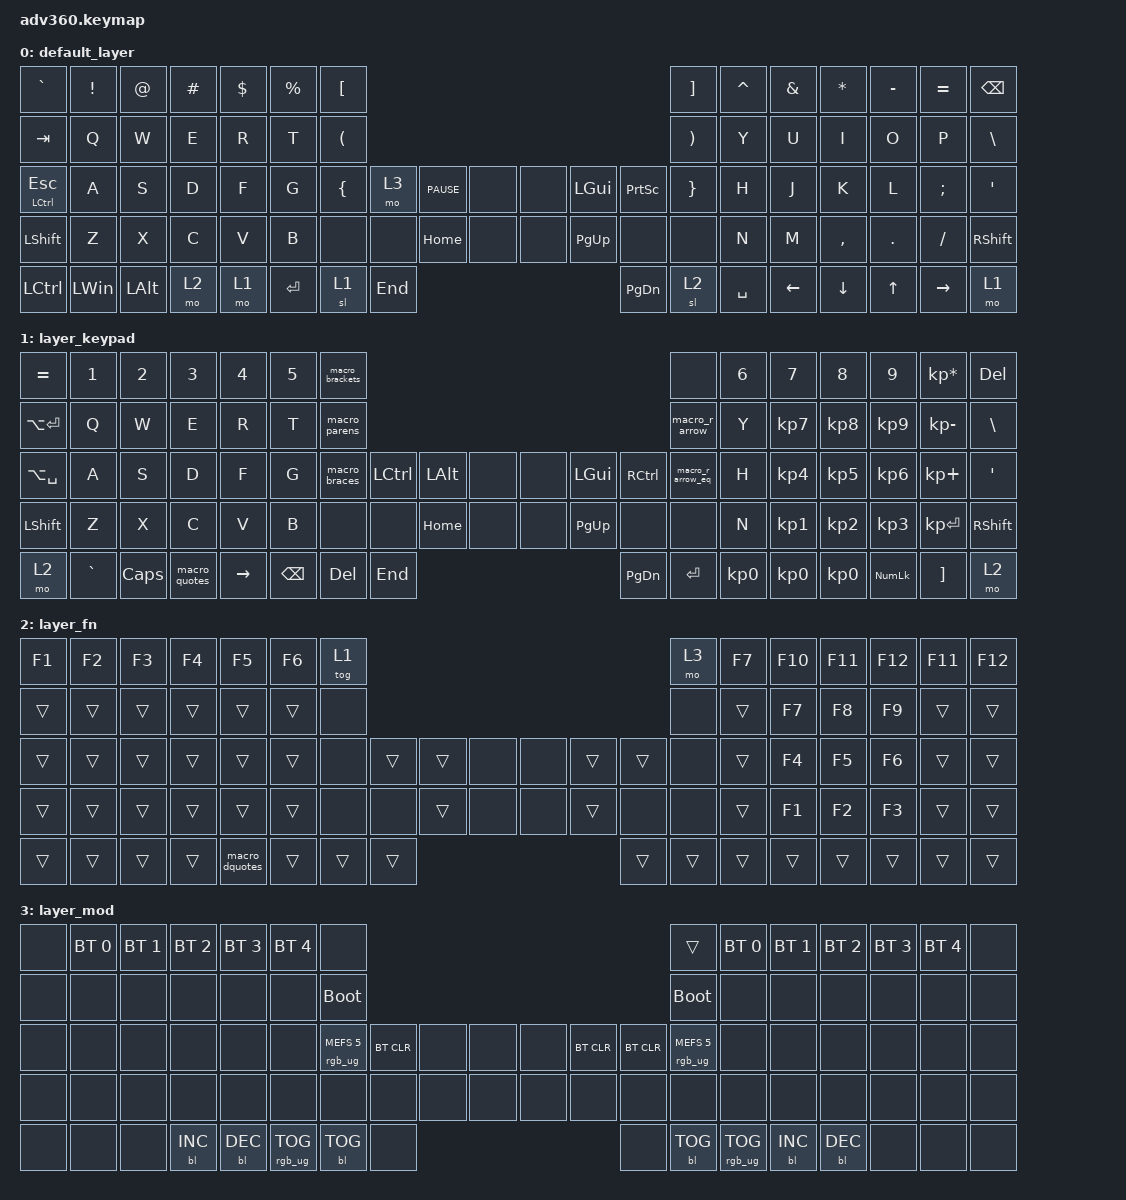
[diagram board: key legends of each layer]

/*
 * Copyright (c) 2020 The ZMK Contributors
 *
 * SPDX-License-Identifier: MIT
 */


/* THIS FILE WAS GENERATED!
 *
 * This file was generated automatically. You may or may not want to
 * edit it directly.
 */

#include <behaviors.dtsi>
#include <dt-bindings/zmk/keys.h>
#include <dt-bindings/zmk/bt.h>
#include <dt-bindings/zmk/rgb.h>
#include <dt-bindings/zmk/backlight.h>

/ {
  behaviors {
    #include "macros.dtsi"

    hm: homerow_mods {
        compatible = "zmk,behavior-hold-tap";
        label = "HOMEROW_MODS";
        #binding-cells = <2>;
        tapping-term-ms = <200>;
        quick_tap_ms = <175>;
        flavor = "tap-preferred";
        bindings = <&kp>, <&kp>;
    };
  };

    keymap {
        compatible = "zmk,keymap";


        default_layer {
            bindings = <
               &kp GRAVE  &kp EXCLAMATION   &kp AT_SIGN  &kp POUND  &kp DOLLAR  &kp PERCENT                &kp LEFT_BRACKET                                                                       &kp RIGHT_BRACKET  &kp CARET  &kp AMPERSAND  &kp ASTERISK  &kp MINUS  &kp EQUAL  &kp BACKSPACE
                 &kp TAB            &kp Q         &kp W      &kp E       &kp R        &kp T            &kp LEFT_PARENTHESIS                                                                   &kp RIGHT_PARENTHESIS      &kp Y          &kp U         &kp I      &kp O      &kp P       &kp BSLH
 &mt LEFT_CONTROL ESCAPE            &kp A         &kp S      &kp D       &kp F        &kp G                  &kp LEFT_BRACE   &mo 3  &kp C_PAUSE   &none   &none   &kp LGUI  &kp PRINTSCREEN        &kp RIGHT_BRACE      &kp H          &kp J         &kp K      &kp L   &kp SEMI        &kp SQT
               &kp LSHFT            &kp Z         &kp X      &kp C       &kp V        &kp B                           &none   &none     &kp HOME   &none   &none  &kp PG_UP            &none                  &none      &kp N          &kp M     &kp COMMA    &kp DOT   &kp FSLH      &kp RSHFT
               &kp LCTRL     &kp LEFT_WIN  &kp LEFT_ALT      &mo 2       &mo 1                                    &kp ENTER   &sl 1      &kp END                  &kp PG_DN            &sl 2              &kp SPACE                  &kp LEFT      &kp DOWN     &kp UP  &kp RIGHT          &mo 1
            >;
        };

        layer_keypad {
            bindings = <
     &kp EQUAL  &kp NUMBER_1    &kp N2         &kp N3     &kp N4  &kp N5            &macro_brackets                                                                         &none  &kp N6     &kp N7     &kp N8          &kp N9  &kp KP_MULTIPLY  &kp DELETE
 &kp LA(ENTER)         &kp Q     &kp W          &kp E      &kp R   &kp T              &macro_parens                                                                &macro_r_arrow   &kp Y  &kp KP_N7  &kp KP_N8       &kp KP_N9     &kp KP_MINUS    &kp BSLH
 &kp LA(SPACE)         &kp A     &kp S          &kp D      &kp F   &kp G              &macro_braces  &kp LCTRL  &kp LALT   &none   &none   &kp LGUI  &kp RCTRL  &macro_r_arrow_eq   &kp H  &kp KP_N4  &kp KP_N5       &kp KP_N6      &kp KP_PLUS     &kp SQT
     &kp LSHFT         &kp Z     &kp X          &kp C      &kp V   &kp B                      &none      &none  &kp HOME   &none   &none  &kp PG_UP      &none              &none   &kp N  &kp KP_N1  &kp KP_N2       &kp KP_N3     &kp KP_ENTER   &kp RSHFT
         &mo 2     &kp GRAVE  &kp CAPS  &macro_quotes  &kp RIGHT                           &kp BSPC    &kp DEL   &kp END                  &kp PG_DN  &kp ENTER          &kp KP_N0          &kp KP_N0  &kp KP_N0  &kp KP_NUMLOCK         &kp RBKT       &mo 2
            >;
        };

        layer_fn {
            bindings = <
 &kp F1  &kp F2  &kp F3  &kp F4          &kp F5  &kp F6            &tog 1                                                   &mo 3  &kp F7  &kp F10  &kp F11  &kp F12  &kp F11  &kp F12
 &trans  &trans  &trans  &trans          &trans  &trans             &none                                                   &none  &trans   &kp F7   &kp F8   &kp F9   &trans   &trans
 &trans  &trans  &trans  &trans          &trans  &trans             &none  &trans  &trans   &none   &none  &trans  &trans   &none  &trans   &kp F4   &kp F5   &kp F6   &trans   &trans
 &trans  &trans  &trans  &trans          &trans  &trans             &none   &none  &trans   &none   &none  &trans   &none   &none  &trans   &kp F1   &kp F2   &kp F3   &trans   &trans
 &trans  &trans  &trans  &trans  &macro_dquotes                    &trans  &trans  &trans                  &trans  &trans  &trans           &trans   &trans   &trans   &trans   &trans
            >;
        };

        layer_mod {
            bindings = <
  &none  &bt BT_SEL 0  &bt BT_SEL 1  &bt BT_SEL 2  &bt BT_SEL 3  &bt BT_SEL 4                             &none                                                                              &trans  &bt BT_SEL 0  &bt BT_SEL 1  &bt BT_SEL 2  &bt BT_SEL 3  &bt BT_SEL 4   &none
  &none         &none         &none         &none         &none         &none                       &bootloader                                                                         &bootloader         &none         &none         &none         &none         &none   &none
  &none         &none         &none         &none         &none         &none            &rgb_ug RGB_MEFS_CMD 5  &bt BT_CLR   &none   &none   &none  &bt BT_CLR  &bt BT_CLR  &rgb_ug RGB_MEFS_CMD 5         &none         &none         &none         &none         &none   &none
  &none         &none         &none         &none         &none         &none                             &none       &none   &none   &none   &none       &none       &none                   &none         &none         &none         &none         &none         &none   &none
  &none         &none         &none    &bl BL_INC    &bl BL_DEC                                 &rgb_ug RGB_TOG  &bl BL_TOG   &none                       &none  &bl BL_TOG         &rgb_ug RGB_TOG                  &bl BL_INC    &bl BL_DEC         &none         &none   &none
            >;
        };

    };
};
